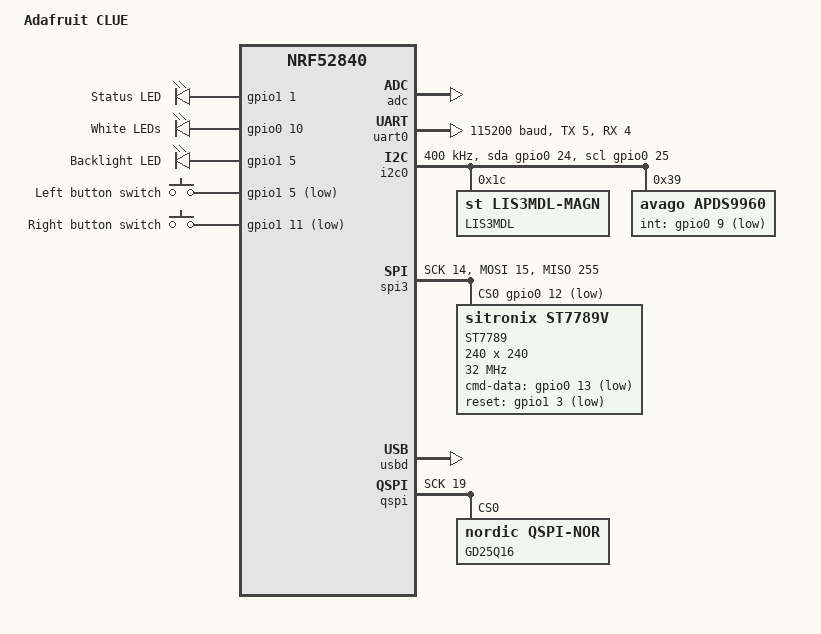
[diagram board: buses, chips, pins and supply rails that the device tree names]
/*
 * Copyright (c) 2020 Tobias Svehagen
 *
 * SPDX-License-Identifier: Apache-2.0
 */

/dts-v1/;
#include <nordic/nrf52840_qiaa.dtsi>

/ {
	model = "Adafruit CLUE";
	compatible = "adafruit,feather-nrf52840";

	chosen {
		zephyr,console = &uart0;
		zephyr,shell-uart = &uart0;
		zephyr,uart-mcumgr = &uart0;
		zephyr,bt-mon-uart = &uart0;
		zephyr,bt-c2h-uart = &uart0;
		zephyr,sram = &sram0;
		zephyr,flash = &flash0;
		zephyr,code-partition = &slot0_partition;
	};

	leds {
		compatible = "gpio-leds";
		led0: led_0 {
			gpios = <&gpio1 1 0>;
			label = "Status LED";
		};
		led1: led_1 {
			gpios = <&gpio0 10 0>;
			label = "White LEDs";
		};
		backlight0: backlight_0 {
			gpios = <&gpio1 5 0>;
			label = "Backlight LED";
		};
	};

	buttons {
		compatible = "gpio-keys";
		button0: button_0 {
			gpios = <&gpio1 5 (GPIO_PULL_UP | GPIO_ACTIVE_LOW)>;
			label = "Left button switch";
		};
		button1: button_1 {
			gpios = <&gpio1 11 (GPIO_PULL_UP | GPIO_ACTIVE_LOW)>;
			label = "Right button switch";
		};
	};

	/* These aliases are provided for compatibility with samples */
	aliases {
		led0 = &led0;
		led1 = &led1;
		sw0 = &button0;
	};
};

&adc {
	status = "okay";
};

&gpiote {
	status = "okay";
};

&gpio0 {
	status = "okay";
};

&gpio1 {
	status = "okay";
};

&uart0 {
	compatible = "nordic,nrf-uart";
	current-speed = <115200>;
	status = "okay";
	tx-pin = <5>;
	rx-pin = <4>;
};

&i2c0 {
	compatible = "nordic,nrf-twim";
	status = "okay";
	clock-frequency = <I2C_BITRATE_FAST>;
	sda-gpios = <&gpio0 24 0>;
	scl-gpios = <&gpio0 25 0>;

	/* ST Microelectronics LIS3MDL magnetic field sensor */
	lis3mdl-magn@1c {
		compatible = "st,lis3mdl-magn";
		label = "LIS3MDL";
		reg = <0x1c>;
	};

	/* Avago APDS-9960 digital proximity, ambient light, RGB and gesture sensor */
	apds9960@39 {
		compatible = "avago,apds9960";
		reg = <0x39>;
		label = "APDS9960";
		int-gpios = <&gpio0 9 (GPIO_ACTIVE_LOW | GPIO_PULL_UP)>;
	};
};

&spi3 {
	compatible = "nordic,nrf-spim";
	status = "okay";
	sck-pin = <14>;
	mosi-pin = <15>;
	miso-pin = <0xFF>; /* Not connected */
	cs-gpios = <&gpio0 12 GPIO_ACTIVE_LOW>;

	/* Not tested, but it should be possible to use the hardware chip select functionality for the display.
	ss_pin = <12>;
	ss_active_high = 0;
	use_hw_ss = 1;
	*/

	st7789@0 {
		compatible = "sitronix,st7789v";
		label = "ST7789";
		spi-max-frequency = <32000000>;
		reg = <0>;
		cmd-data-gpios = <&gpio0 13 GPIO_ACTIVE_LOW>;	/* D9 */
		reset-gpios = <&gpio1 3 GPIO_ACTIVE_LOW>;
		width = <240>;
		height = <240>;
		x-offset = <80>; /* The st7789v is defined for a 320x240 display so we must offset the x position. */
		y-offset = <0>;
		vcom = <0x2b>;
		gctrl = <0x35>;
		vrhs = <0x0f>;
		vdvs = <0x20>;
		mdac = <0xA0>; /* Display orientation/rotation */
		gamma = <0x01>;
		colmod = <0x55>; /* Pixel format RGB 565 */
		lcm = <0x2c>;
		porch-param = [0c 0c 00 33 33];
		cmd2en-param = [5a 69 02 01];
		pwctrl1-param = [52 a1];
		pvgam-param = [D0 00 02 07 0B 1A 31 54 40 29 12 12 12 17];
		nvgam-param = [D0 00 02 07 05 15 2D 44 44 1C 18 16 1C 1D];
		ram-param = [00 F8];
		rgb-param = [CD 08 14];
	};
};

&usbd {
	compatible = "nordic,nrf-usbd";
	status = "okay";
};

/* Not tested, copy-pasted from adafruit_feather_nrf52840. */
&qspi {
	status = "okay";
	sck-pin = <19>;
	io-pins = <17>, <22>, <23>, <21>;
	csn-pins = <20>;
	gd25q16: gd25q16@0 {
		/* NOTE: Quad mode not supported as driver does not handle
		 * QE bit setting in SR2. Ref. GD25Q16C, Rev 3.0, p. 12.
		 */
		compatible = "nordic,qspi-nor";
		reg = <0>;
		writeoc = "pp2o";
		readoc = "read2io";
		sck-frequency = <16000000>;
		label = "GD25Q16";
		jedec-id = [c8 40 15];
		size = <16777216>;
		has-dpd;
		t-enter-dpd = <20000>;
		t-exit-dpd = <20000>;
	};
};

/* Not tested, copy-pasted from adafruit_feather_nrf52840. */
&flash0 {

	partitions {
		compatible = "fixed-partitions";
		#address-cells = <1>;
		#size-cells = <1>;

		boot_partition: partition@0 {
			label = "mcuboot";
			reg = <0x000000000 0x0000C000>;
		};
		slot0_partition: partition@c000 {
			label = "image-0";
			reg = <0x0000C000 0x00067000>;
		};
		slot1_partition: partition@73000 {
			label = "image-1";
			reg = <0x00073000 0x00067000>;
		};
		scratch_partition: partition@da000 {
			label = "image-scratch";
			reg = <0x000da000 0x0001e000>;
		};

		/*
		 * The flash starting at 0x000f8000 and ending at
		 * 0x000fffff is reserved for use by the application.
		 */

		/* Storage partition will be used by FCB/NFFS/NVS if enabled. */
		storage_partition: partition@f8000 {
			label = "storage";
			reg = <0x000f8000 0x00008000>;
		};
	};
};
